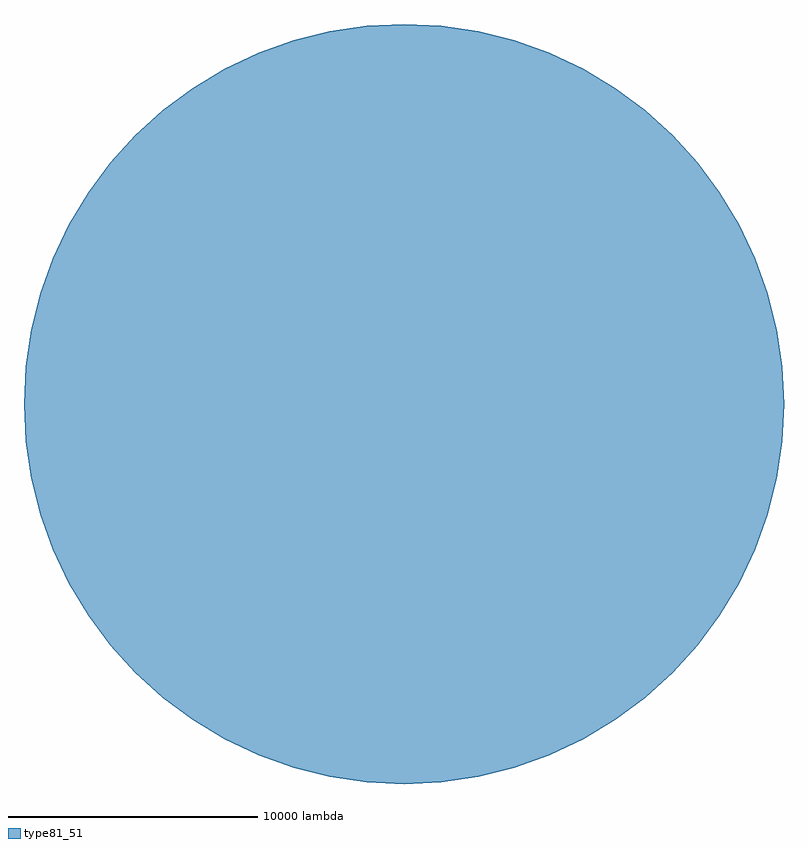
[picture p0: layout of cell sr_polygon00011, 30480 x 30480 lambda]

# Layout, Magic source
magic
tech sky130seal_ring
magscale 1 10
<< type81_51 >>
tri -14938 151666 0 152400 se
tri 0 151666 14938 152400 sw
tri -29732 149472 -14938 151666 se
rect -14938 149472 14938 151666
tri 14938 149472 29732 151666 sw
tri -44239 145838 -29732 149472 se
rect -29732 145838 29732 149472
tri 29732 145838 44239 149472 sw
tri -58321 140799 -44239 145838 se
rect -44239 140799 44239 145838
tri 44239 140799 58321 145838 sw
tri -71841 134405 -58321 140799 se
rect -58321 134405 58321 140799
tri 58321 134405 71841 140799 sw
tri -84669 126716 -71841 134405 se
rect -71841 126716 71841 134405
tri 71841 126716 84669 134405 sw
tri -96682 117807 -84669 126716 se
rect -84669 117807 84669 126716
tri 84669 117807 96682 126716 sw
tri -107763 107763 -96682 117807 se
rect -96682 107763 96682 117807
tri 96682 107763 107763 117807 sw
tri -117807 96682 -107763 107763 se
rect -107763 96682 107763 107763
tri 107763 96682 117807 107763 sw
tri -126716 84669 -117807 96682 se
rect -117807 84669 117807 96682
tri 117807 84669 126716 96682 sw
tri -134405 71841 -126716 84669 se
rect -126716 71841 126716 84669
tri 126716 71841 134405 84669 sw
tri -140799 58321 -134405 71841 se
rect -134405 58321 134405 71841
tri 134405 58321 140799 71841 sw
tri -145838 44239 -140799 58321 se
rect -140799 44239 140799 58321
tri 140799 44239 145838 58321 sw
tri -149472 29732 -145838 44239 se
rect -145838 29732 145838 44239
tri 145838 29732 149472 44239 sw
tri -151666 14938 -149472 29732 se
rect -149472 14938 149472 29732
tri 149472 14938 151666 29732 sw
tri -152400 0 -151666 14938 se
tri -152400 -14938 -151666 0 ne
rect -151666 -14938 151666 14938
tri 151666 0 152400 14938 sw
tri 151666 -14938 152400 0 nw
tri -151666 -29732 -149472 -14938 ne
rect -149472 -29732 149472 -14938
tri 149472 -29732 151666 -14938 nw
tri -149472 -44239 -145838 -29732 ne
rect -145838 -44239 145838 -29732
tri 145838 -44239 149472 -29732 nw
tri -145838 -58321 -140799 -44239 ne
rect -140799 -58321 140799 -44239
tri 140799 -58321 145838 -44239 nw
tri -140799 -71841 -134405 -58321 ne
rect -134405 -71841 134405 -58321
tri 134405 -71841 140799 -58321 nw
tri -134405 -84669 -126716 -71841 ne
rect -126716 -84669 126716 -71841
tri 126716 -84669 134405 -71841 nw
tri -126716 -96682 -117807 -84669 ne
rect -117807 -96682 117807 -84669
tri 117807 -96682 126716 -84669 nw
tri -117807 -107763 -107763 -96682 ne
rect -107763 -107763 107763 -96682
tri 107763 -107763 117807 -96682 nw
tri -107763 -117807 -96682 -107763 ne
rect -96682 -117807 96682 -107763
tri 96682 -117807 107763 -107763 nw
tri -96682 -126716 -84669 -117807 ne
rect -84669 -126716 84669 -117807
tri 84669 -126716 96682 -117807 nw
tri -84669 -134405 -71841 -126716 ne
rect -71841 -134405 71841 -126716
tri 71841 -134405 84669 -126716 nw
tri -71841 -140799 -58321 -134405 ne
rect -58321 -140799 58321 -134405
tri 58321 -140799 71841 -134405 nw
tri -58321 -145838 -44239 -140799 ne
rect -44239 -145838 44239 -140799
tri 44239 -145838 58321 -140799 nw
tri -44239 -149472 -29732 -145838 ne
rect -29732 -149472 29732 -145838
tri 29732 -149472 44239 -145838 nw
tri -29732 -151666 -14938 -149472 ne
rect -14938 -151666 14938 -149472
tri 14938 -151666 29732 -149472 nw
tri -14938 -152400 0 -151666 ne
tri 0 -152400 14938 -151666 nw
<< end >>
